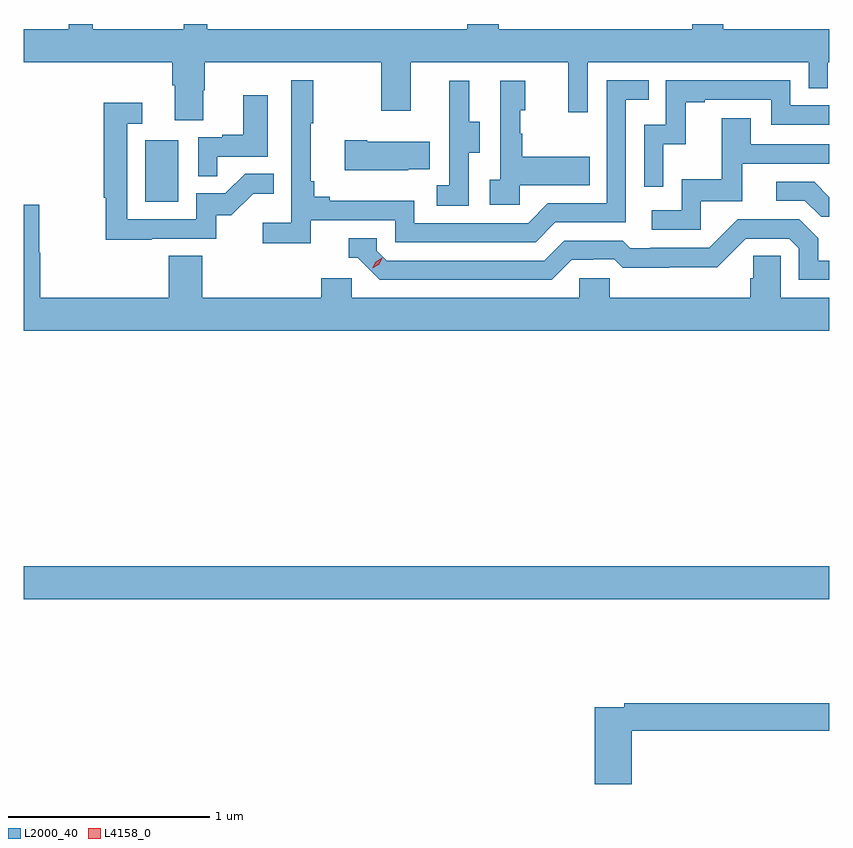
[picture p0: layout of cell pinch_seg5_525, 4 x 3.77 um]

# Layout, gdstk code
import gdstk
lib = gdstk.Library(unit=1e-6, precision=1e-09)
def R(c, l, rs):  # rectangles x0, y0, x1, y1
    for r in rs: c.add(gdstk.rectangle(r[:2], r[2:], *l))
def P(c, l, *ps):  # polygons
    for p in ps: c.add(gdstk.Polygon(p, *l))
L2000_40 = (2000, 40)
L4158_0 = (4158, 0)

pinch_seg5_525 = lib.new_cell('pinch_seg5_525')
R(pinch_seg5_525, L2000_40, [(923.29,848.768,927.29,848.932), (923.894,850.74,924.058,851.047)])
P(pinch_seg5_525, L2000_40, [(924.181,851.295),(924.189,851.295),(924.189,851.432),(925.066,851.432),(925.066,851.193),(925.213,851.193),(925.213,851.432),(925.994,851.432),(925.994,851.184),(926.091,851.184),(926.091,851.432),(927.186,851.432),(927.186,851.305),(927.282,851.305),(927.282,851.432),(927.29,851.432),(927.29,851.596),(926.762,851.596),(926.762,851.623),(926.609,851.623),(926.609,851.596),(925.649,851.596),(925.649,851.623),(925.493,851.623),(925.493,851.596),(924.203,851.596),(924.203,851.623),(924.086,851.623),(924.086,851.596),(923.633,851.596),(923.633,851.623),(923.515,851.623),(923.515,851.596),(923.29,851.596),(923.29,851.432),(924.029,851.432),(924.029,851.32),(924.041,851.32),(924.041,851.146),(924.181,851.146)],
  [(924.716,850.65),(925.134,850.65),(925.134,850.539),(925.831,850.539),(925.93,850.638),(926.28,850.638),(926.28,851.247),(926.393,851.247),(926.393,851.343),(926.184,851.343),(926.184,850.734),(925.893,850.734),(925.794,850.635),(925.23,850.635),(925.23,850.747),(924.811,850.747),(924.811,850.766),(924.734,850.766),(924.734,850.843),(924.715,850.843),(924.715,851.131),(924.727,851.131),(924.727,851.344),(924.618,851.344),(924.618,850.636),(924.477,850.636),(924.477,850.534),(924.716,850.534)],
  [(926.466,851.027),(926.576,851.027),(926.576,851.235),(926.671,851.235),(926.671,851.247),(927,851.247),(927,851.124),(927.29,851.124),(927.29,851.22),(927.096,851.22),(927.096,851.343),(926.478,851.343),(926.478,851.124),(926.37,851.124),(926.37,850.815),(926.466,850.815)],
  [(925.752,850.823),(926.099,850.823),(926.099,850.963),(925.765,850.963),(925.765,851.078),(925.755,851.078),(925.755,851.196),(925.78,851.196),(925.78,851.341),(925.656,851.341),(925.656,850.85),(925.605,850.85),(925.605,850.725),(925.752,850.725)],
  [(925.5,850.984),(925.555,850.984),(925.555,851.139),(925.501,851.139),(925.501,851.341),(925.403,851.341),(925.403,851.127),(925.404,851.127),(925.404,850.823),(925.341,850.823),(925.341,850.72),(925.5,850.72)],
  [(924.251,850.965),(924.502,850.965),(924.502,851.269),(924.38,851.269),(924.38,851.074),(924.277,851.074),(924.277,851.061),(924.156,851.061),(924.156,850.867),(924.251,850.867)],
  [(923.927,850.557),(924.246,850.557),(924.246,850.674),(924.322,850.674),(924.429,850.781),(924.533,850.781),(924.533,850.88),(924.39,850.88),(924.292,850.782),(924.147,850.782),(924.147,850.653),(923.805,850.653),(923.805,851.127),(923.878,851.127),(923.878,851.233),(923.689,851.233),(923.689,850.76),(923.697,850.76),(923.697,850.552),(923.927,850.552)],
  [(926.652,850.743),(926.857,850.743),(926.857,850.929),(927.29,850.929),(927.29,851.025),(926.899,851.025),(926.899,851.155),(926.755,851.155),(926.755,850.852),(926.556,850.852),(926.556,850.698),(926.409,850.698),(926.409,850.602),(926.652,850.602)],
  [(925.199,850.901),(925.307,850.901),(925.307,851.038),(924.997,851.038),(924.997,851.046),(924.885,851.046),(924.885,850.898),(925.199,850.898)],
  [(927.29,850.763),(927.214,850.839),(927.027,850.839),(927.027,850.746),(927.168,850.746),(927.248,850.666),(927.29,850.666)],
  [(927.29,850.264),(927.048,850.264),(927.048,850.472),(926.911,850.472),(926.911,850.362),(926.897,850.362),(926.897,850.264),(926.199,850.264),(926.199,850.362),(926.049,850.362),(926.049,850.264),(924.918,850.264),(924.918,850.362),(924.767,850.362),(924.767,850.264),(924.176,850.264),(924.176,850.472),(924.011,850.472),(924.011,850.264),(923.372,850.264),(923.372,850.487),(923.367,850.487),(923.367,850.726),(923.29,850.726),(923.29,850.1),(927.29,850.1)],
  [(926.011,850.452),(926.118,850.452),(926.118,850.455),(926.221,850.455),(926.263,850.413),(926.496,850.413),(926.496,850.415),(926.732,850.415),(926.874,850.557),(927.09,850.557),(927.138,850.509),(927.138,850.353),(927.29,850.353),(927.29,850.449),(927.235,850.449),(927.235,850.559),(927.141,850.653),(926.835,850.653),(926.694,850.512),(926.401,850.512),(926.401,850.509),(926.302,850.509),(926.263,850.548),(925.974,850.548),(925.875,850.449),(925.092,850.449),(925.044,850.497),(925.044,850.56),(924.905,850.56),(924.905,850.464),(924.948,850.464),(925.059,850.353),(925.912,850.353)],
  [(926.309,848.116),(927.29,848.116),(927.29,848.252),(926.272,848.252),(926.272,848.232),(926.126,848.232),(926.126,847.851),(926.309,847.851)])
P(pinch_seg5_525, L4158_0, [(925.021,850.41),(925.021,850.411),(925.038,850.443),(925.07,850.462),(925.07,850.462),(925.07,850.461),(925.053,850.429),(925.021,850.41)])

lib.write_gds('pinch_seg5_525.gds')
